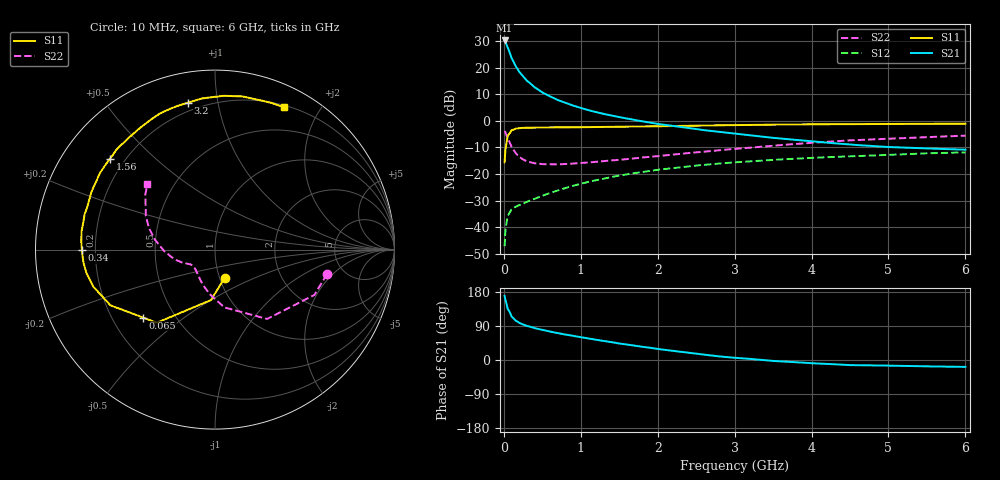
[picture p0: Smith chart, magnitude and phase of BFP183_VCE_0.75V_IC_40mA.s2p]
! Infineon Technologies  Discrete & RF Semiconductors
! BFP183
! VCE = 0.75V,  IC =  40 mA
! Common Emitter S-Parameters:  Jan 2016
# GHz  S  MA  R  50
!  f  S11  S21  S12  S22
! GHz  MAG  ANG  MAG  ANG  MAG  ANG  MAG  ANG
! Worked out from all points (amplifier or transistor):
!   210 points, 10 MHz to 6 GHz, reference 50 ohm
!   highest |S21| = 30.2 dB at 10 MHz (marker M1)
!   |S21| within 3 dB of that: start of sweep to 55.77 MHz
!   unconditionally stable (mu >= 1): start of sweep to 27.02 MHz; 183 MHz to end of sweep
!   at 185 MHz: K = 1.01, MAG = 25.0 dB, |S12| = -31.9 dB
!   at 1.52 GHz: K = 1.90, MAG = 5.4 dB, |S12| = -20.5 dB
!   at 6 GHz: K = 1.54, MAG = -3.8 dB, |S12| = -11.9 dB
!   S11 on the Smith chart (normalised r, x): 10 MHz: 1.06, -0.34; 65 MHz: 0.33, -0.36; 340 MHz: 0.15, -0.00; 1.56 GHz: 0.15, +0.37; 3.2 GHz: 0.15, +0.82; 6 GHz: 0.22, +1.57
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0.01  0.1659 -71.1  32.25 169.2  0.0044 70.0  0.6385 -12.4
0.02  0.2819 -94.5  30.84 159.0  0.0084 66.3  0.6087 -24.5
0.05  0.5207 -128.5  23.94 134.9  0.0162 51.6  0.4833 -53.1
0.065  0.5519 -136.7  21.1 130.6  0.0177 47.2  0.4274 -59.2
0.1  0.6604 -152.0  15.21 114.6  0.0216 39.4  0.3264 -80.8
0.15  0.7088 -163.1  10.85 104.3  0.0241 37.8  0.2496 -96.8
0.2  0.7279 -169.5  8.317 98.0  0.026 39.8  0.2101 -108.0
0.24  0.7343 -173.3  7.047 94.5  0.0273 41.1  0.1914 -114.4
0.3  0.7392 -177.6  5.653 89.9  0.03 43.3  0.1727 -122.2
0.34  0.7411 -179.8  5.088 87.9  0.0317 45.2  0.1666 -125.5
0.4  0.7459 176.9  4.255 84.0  0.0342 47.8  0.1587 -130.9
0.5  0.7505 172.5  3.404 79.3  0.0389 50.4  0.1532 -136.9
0.6  0.7492 168.4  2.876 74.8  0.0439 52.9  0.152 -140.9
0.8  0.7501 161.6  2.165 67.1  0.0543 55.2  0.1535 -145.5
1.02  0.7599 154.5  1.702 59.4  0.0662 56.2  0.161 -149.5
1.56  0.7735 139.1  1.129 41.9  0.0963 53.3  0.1875 -156.6
2.02  0.7877 126.9  0.864 28.6  0.1206 48.8  0.2177 -163.6
3.1  0.8294 102.4  0.552 4.5  0.169 36.1  0.3042 176.8
3.2  0.8321 100.5  0.533 2.9  0.1727 34.9  0.313 175.0
4.1  0.8589 85.4  0.399 -9.4  0.2038 24.6  0.3936 160.4
5.1  0.8696 73.0  0.317 -15.2  0.2313 15.0  0.4659 146.1
6  0.8809 64.3  0.286 -18.2  0.2546 5.3  0.5242 136.0
